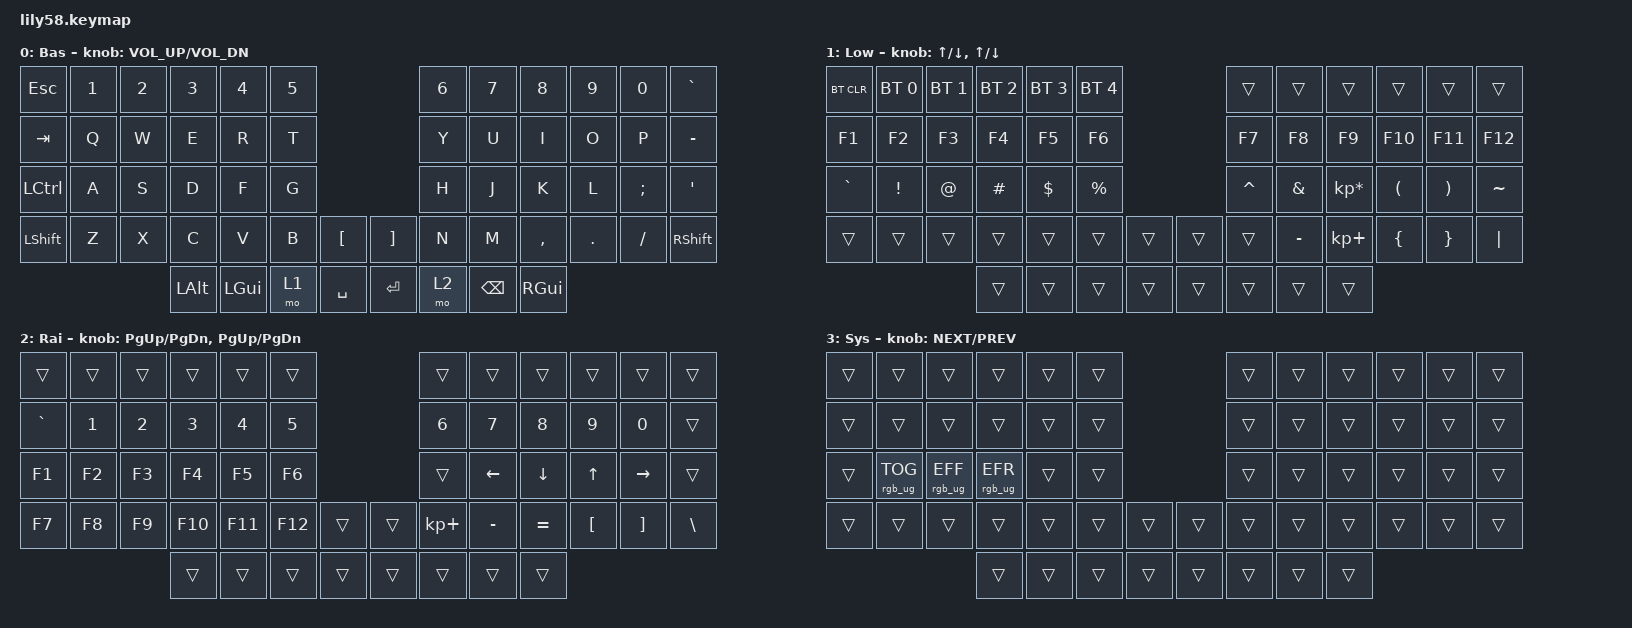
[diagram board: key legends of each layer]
/*
 * Copyright (c) 2020 The ZMK Contributors
 *
 * SPDX-License-Identifier: MIT
 */

#include <behaviors.dtsi>
#include <dt-bindings/zmk/keys.h>
#include <dt-bindings/zmk/bt.h>
#include <dt-bindings/zmk/ext_power.h>
#include <dt-bindings/zmk/rgb.h>

&left_encoder {
    status = "okay";
};

&led_strip {
    chain-length = <36>;
};
/ {
    macros {
        mo_l1: mo_l1 {
            compatible = "zmk,behavior-macro";
            #binding-cells = <0>;
            wait-ms = <0>;
            tap-ms = <0>;
            bindings
                = <&macro_press &mo 1 &rgb_ug RGB_COLOR_HSB(240,100,100)>
                , <&macro_pause_for_release>
                , <&macro_release &mo 1>
                , <&rgb_ug RGB_COLOR_HSB(0,100,100)>;
        };
        mo_sys: mo_sys {
            compatible = "zmk,behavior-macro";
            #binding-cells = <0>;
            wait-ms = <0>;
            tap-ms = <0>;
            bindings
                // Attiva il Layer 3 e accende il colore VIOLA (280)
                = <&macro_press &mo 3 &rgb_ug RGB_COLOR_HSB(280,100,100)>
                , <&macro_pause_for_release>
                // Rilascia il Layer 3 e torna ROSSO (0)
                , <&macro_release &mo 3>
                , <&rgb_ug RGB_COLOR_HSB(0,100,100)>;
        };
    };
};
/ {
    keymap {
        compatible = "zmk,keymap";

        default_layer {
// ------------------------------------------------------------------------------------------------------------
// |  ESC  |  1  |  2  |  3   |  4   |  5   |                   |  6   |  7    |  8    |  9   |   0   |   `   |
// |  TAB  |  Q  |  W  |  E   |  R   |  T   |                   |  Y   |  U    |  I    |  O   |   P   |   -   |
// |  CTRL |  A  |  S  |  D   |  F   |  G   |                   |  H   |  J    |  K    |  L   |   ;   |   '   |
// | SHIFT |  Z  |  X  |  C   |  V   |  B   |   "["  |  |  "]"  |  N   |  M    |  ,    |  .   |   /   | SHIFT |
//                     | ALT  | GUI  | LOWER|  SPACE |  | ENTER | RAISE| BSPC  | GUI   |
            display-name = "Bas";
            bindings = <
&kp ESC   &kp N1 &kp N2 &kp N3   &kp N4   &kp N5                     &kp N6 &kp N7   &kp N8    &kp N9  &kp N0   &kp GRAVE
&kp TAB   &kp Q  &kp W  &kp E    &kp R    &kp T                      &kp Y  &kp U    &kp I     &kp O   &kp P    &kp MINUS
&kp LCTRL &kp A  &kp S  &kp D    &kp F    &kp G                      &kp H  &kp J    &kp K     &kp L   &kp SEMI &kp SQT
&kp LSHFT &kp Z  &kp X  &kp C    &kp V    &kp B  &kp LBKT   &kp RBKT &kp N  &kp M    &kp COMMA &kp DOT &kp FSLH &kp RSHFT
                        &kp LALT &kp LGUI &mo 1  &kp SPACE  &kp RET  &mo 2  &kp BSPC &kp RGUI
            >;

            sensor-bindings = <&inc_dec_kp C_VOL_UP C_VOL_DN>;
        };

        lower_layer {
// ------------------------------------------------------------------------------------------------------------
// | BTCLR | BT1 | BT2 |  BT3 |  BT4 |  BT5 |                   |      |       |       |      |       |       |
// |  F1   |  F2 |  F3 |  F4  |  F5  |  F6  |                   |  F7  |  F8   |  F9   |  F10 |  F11  |  F12  |
// |   `   |  !  |  @  |  #   |  $   |  %   |                   |  ^   |  &    |  *    |  (   |   )   |   ~   |
// |       |     |     |      |      |      |        |  |       |      |  _    |  +    |  {   |   }   |  "|"  |
//                     |      |      |      |        |  |       |      |       |       |
            display-name = "Low";
            bindings = <
&bt BT_CLR &bt BT_SEL 0     &bt BT_SEL 1      &bt BT_SEL 2      &bt BT_SEL 3 &bt BT_SEL 4                 &trans    &trans    &trans          &trans    &trans    &trans
&kp F1     &kp F2           &kp F3            &kp F4            &kp F5       &kp F6                       &kp F7    &kp F8    &kp F9          &kp F10   &kp F11   &kp F12
&kp GRAVE  &kp EXCL         &kp AT            &kp HASH          &kp DOLLAR   &kp PRCNT                    &kp CARET &kp AMPS  &kp KP_MULTIPLY &kp LPAR  &kp RPAR  &kp TILDE
&trans     &trans           &trans            &trans            &trans       &trans    &trans   &trans    &trans    &kp MINUS &kp KP_PLUS     &kp LBRC  &kp RBRC  &kp PIPE
                                              &trans            &trans       &trans    &trans   &trans    &trans    &trans    &trans
            >;

            sensor-bindings = <&inc_dec_kp UP DOWN  &inc_dec_kp UP DOWN>;
        };

        raise_layer {
// ------------------------------------------------------------------------------------------------------------
// |       |     |     |      |      |      |                   |      |       |       |      |       |       |
// |   `   |  1  |  2  |  3   |  4   |  5   |                   |  6   |   7   |   8   |  9   |   0   |       |
// |   F1  |  F2 |  F3 |  F4  |  F5  |  F6  |                   |      |   <-  |   v   |  ^   |  ->   |       |
// |   F7  |  F8 |  F9 |  F10 |  F11 |  F12 |        |  |       |  +   |   -   |   =   |  [   |   ]   |   \   |
//                     |      |      |      |        |  |       |      |       |       |
            display-name = "Rai";
            bindings = <
&trans    &trans &trans &trans  &trans  &trans                       &trans      &trans    &trans    &trans   &trans    &trans
&kp GRAVE &kp N1 &kp N2 &kp N3  &kp N4  &kp N5                       &kp N6      &kp N7    &kp N8    &kp N9   &kp N0    &trans
&kp F1    &kp F2 &kp F3 &kp F4  &kp F5  &kp F6                       &trans      &kp LEFT  &kp DOWN  &kp UP   &kp RIGHT &trans
&kp F7    &kp F8 &kp F9 &kp F10 &kp F11 &kp F12   &trans   &trans    &kp KP_PLUS &kp MINUS &kp EQUAL &kp LBKT &kp RBKT  &kp BSLH
                        &trans  &trans  &trans    &trans   &trans    &trans      &trans    &trans
            >;

            sensor-bindings = <&inc_dec_kp PG_UP PG_DN  &inc_dec_kp PG_UP PG_DN>;
        };

        extra_1 {
            // LAYER 3: Livello di sistema automatico (LOWER + RAISE)
            display-name = "Sys";
            bindings = <
&trans &trans           &trans           &trans           &trans       &trans                    &trans &trans &trans &trans &trans &trans
&trans &trans           &trans           &trans           &trans       &trans                    &trans &trans &trans &trans &trans &trans
&trans &rgb_ug RGB_TOG  &rgb_ug RGB_EFF  &rgb_ug RGB_EFR  &trans       &trans                    &trans &trans &trans &trans &trans &trans
&trans &trans           &trans           &trans           &trans       &trans  &trans    &trans  &trans &trans &trans &trans &trans &trans
                                         &trans           &trans       &trans  &trans    &trans  &trans &trans &trans
            >;
            
            // LAYER 3: Cambia traccia multimediale (Prossima / Precedente) con l'encoder
            sensor-bindings = <&inc_dec_kp C_NEXT C_PREV>;
        };

        extra_2 {
            status = "reserved";
        };

        extra_3 {
            status = "reserved";
        };
    };
};
